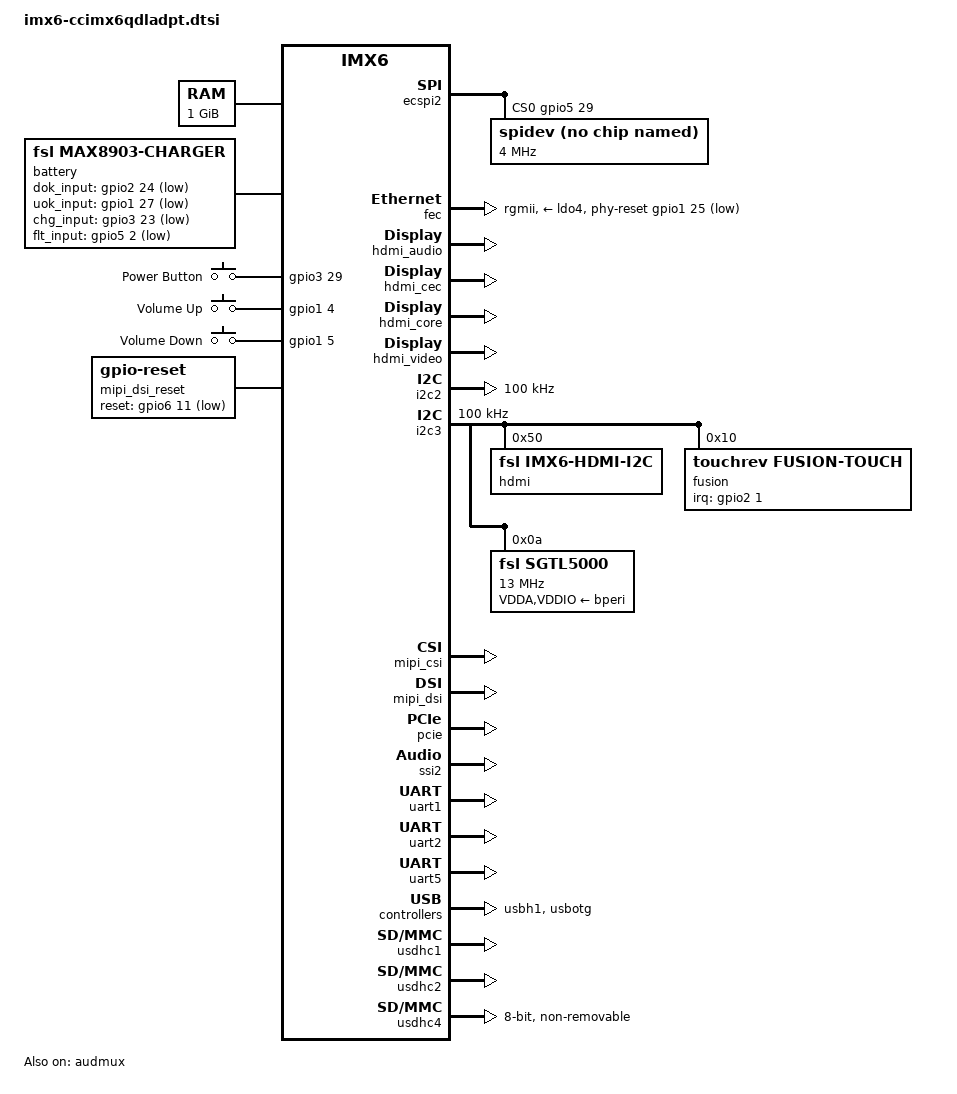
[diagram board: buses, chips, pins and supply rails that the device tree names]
/*
 * Copyright 2013 Digi International, Inc.
 * Copyright 2012 Freescale Semiconductor, Inc.
 * Copyright 2011 Linaro Ltd.
 *
 * The code contained herein is licensed under the GNU General Public
 * License. You may obtain a copy of the GNU General Public License
 * Version 2 or later at the following locations:
 *
 * http://www.opensource.org/licenses/gpl-license.html
 * http://www.gnu.org/copyleft/gpl.html
 */

/ {
	aliases {
		mxcfb0 = &mxcfb1;
		mxcfb1 = &mxcfb2;
		mxcfb2 = &mxcfb3;
		mxcfb3 = &mxcfb4;
	};

	memory {
		reg = <0x10000000 0x40000000>;
	};

	battery: max8903@0 {
		compatible = "fsl,max8903-charger";
		pinctrl-names = "default";
		dok_input = <&gpio2 24 1>;
		uok_input = <&gpio1 27 1>;
		chg_input = <&gpio3 23 1>;
		flt_input = <&gpio5 2 1>;
		fsl,dcm_always_high;
		fsl,dc_valid;
		fsl,usb_valid;
		status = "okay";
	};

	gpio-keys {
		compatible = "gpio-keys";
		power {
			label = "Power Button";
			gpios = <&gpio3 29 0>;
			linux,code = <116>; /* KEY_POWER */
			gpio-key,wakeup;
		};

		volume-up {
			label = "Volume Up";
			gpios = <&gpio1 4 0>;
			linux,code = <115>; /* KEY_VOLUMEUP */
		};

		volume-down {
			label = "Volume Down";
			gpios = <&gpio1 5 0>;
			linux,code = <114>; /* KEY_VOLUMEDOWN */
		};
	};

	sound {
		compatible = "fsl,imx6q-ccimx6adpt-sgtl5000",
			   "fsl,imx-audio-sgtl5000";
		model = "sgtl5000-audio";
		ssi-controller = <&ssi2>;
		audio-codec = <&sgtl5000>;
		audio-routing =
                        "MIC_IN", "Mic Jack",
                        "Mic Jack", "Mic Bias",
                        "Headphone Jack", "HP_OUT";
		mux-int-port = <2>;
		mux-ext-port = <3>;
	};

	sound-hdmi {
		compatible = "fsl,imx6q-audio-hdmi",
			     "fsl,imx-audio-hdmi";
		model = "imx-audio-hdmi";
		hdmi-controller = <&hdmi_audio>;
	};

	mxcfb1: fb@0 {
		compatible = "fsl,mxc_sdc_fb";
		disp_dev = "ldb";
		interface_pix_fmt = "RGB666";
		mode_str ="LDB-HSD101PFW2";
		default_bpp = <16>;
		int_clk = <0>;
		late_init = <0>;
		status = "disabled";
	};

	mxcfb2: fb@1 {
		compatible = "fsl,mxc_sdc_fb";
		disp_dev = "hdmi";
		interface_pix_fmt = "RGB24";
		mode_str ="1920x1080M@60";
		default_bpp = <24>;
		int_clk = <0>;
		late_init = <0>;
		status = "disabled";
	};

	mxcfb3: fb@2 {
		compatible = "fsl,mxc_sdc_fb";
		disp_dev = "lcd";
		interface_pix_fmt = "RGB565";
		mode_str ="CLAA-WVGA";
		default_bpp = <16>;
		int_clk = <0>;
		late_init = <0>;
		status = "disabled";
	};

	mxcfb4: fb@3 {
		compatible = "fsl,mxc_sdc_fb";
		disp_dev = "ldb";
		interface_pix_fmt = "RGB666";
		mode_str ="LDB-XGA";
		default_bpp = <16>;
		int_clk = <0>;
		late_init = <0>;
		status = "disabled";
	};

	lcd@0 {
		compatible = "fsl,lcd";
		ipu_id = <0>;
		disp_id = <0>;
		default_ifmt = "RGB565";
		pinctrl-names = "default";
		pinctrl-0 = <&pinctrl_ipu1_1>;
		status = "okay";
	};

	v4l2_cap_0 {
		compatible = "fsl,imx6q-v4l2-capture";
		ipu_id = <0>;
		csi_id = <0>;
		mclk_source = <0>;
		status = "okay";
	};

	v4l2_cap_1 {
		compatible = "fsl,imx6q-v4l2-capture";
		ipu_id = <0>;
		csi_id = <1>;
		mclk_source = <0>;
		status = "okay";
	};

	v4l2_out {
		compatible = "fsl,mxc_v4l2_output";
		status = "okay";
	};

	mipi_dsi_reset: mipi-dsi-reset {
		compatible = "gpio-reset";
		reset-gpios = <&gpio6 11 GPIO_ACTIVE_LOW>;
		reset-delay-us = <50>;
		#reset-cells = <0>;
	};

	wireless {
		digi,pwrdown-gpios = <&gpio_extender 3 0>;
		/* U-Boot will fill in the MAC address here */
	};

	bluetooth {
		digi,pwrdown-gpios = <&gpio_extender 4 0>;
		/* U-Boot will fill in the MAC address here */
	};
};

&audmux {
	pinctrl-names = "default";
	pinctrl-0 = <&pinctrl_audmux_2>;
	status = "okay";
};

&cpu0 {
	arm-supply = <&bcore1>;
	soc-supply = <&bcore2>;
	pu-supply = <&pu_dummy>;
};

&ecspi2 {
	fsl,spi-num-chipselects = <2>;
	cs-gpios = <&gpio5 29 0>,<&gpio2 27 0>;
	pinctrl-names = "default";
	pinctrl-0 = <&pinctrl_ecspi2_1>;
	status = "okay";

	spidev@0 {
		compatible = "spidev";
		reg = <0>;
		spi-max-frequency = <4000000>;
		status = "okay";
	};
};

/* 10/100/1000 KSZ9031 PHY */

&fec {
	pinctrl-names = "default";
	pinctrl-0 = <&pinctrl_enet_4>;
	phy-mode = "rgmii";
	phy-reset-gpios = <&gpio1 25 2>;
	phy-reset-duration = <10>;
	phy-reset-wait = <1>;
	phy-supply = <&ldo4>;
	status = "okay";
};


/* 10/100 LAN8710 PHY */
/*
&fec {
	pinctrl-names = "default";
	pinctrl-0 = <&pinctrl_enet_5>;
	phy-mode = "rmii";
	phy-reset-gpios = <&gpio6 24 2>;
	phy-reset-duration = <10>;
	phy-reset-wait = <1>;
	phy-supply = <&ldo4>;
	status = "okay";
};
*/

&gpc {
	fsl,cpu_pupscr_sw2iso = <0xf>;
	fsl,cpu_pupscr_sw = <0xf>;
	fsl,cpu_pdnscr_iso2sw = <0x1>;
	fsl,cpu_pdnscr_iso = <0x1>;
	fsl,ldo-bypass = <1>; /* use ldo-bypass, u-boot will check it and configure */
	fsl,wdog-reset = <2>; /* watchdog select of reset source */
	pu-supply = <&pu_dummy>; /* ldo-bypass:use pu_dummy if VDDSOC share with VDDPU */
};

&gpu {
	pu-supply = <&pu_dummy>; /* ldo-bypass:use pu_dummy if VDDSOC share with VDDPU */
};

&hdmi_audio {
	status = "okay";
};

&hdmi_cec {
	pinctrl-names = "default";
	pinctrl-0 = <&pinctrl_hdmi_cec_2>;
	status = "okay";
};

&hdmi_core {
	ipu_id = <0>;
	disp_id = <0>;
	status = "okay";
};

&hdmi_video {
	fsl,phy_reg_vlev = <0x0294>;
	fsl,phy_reg_cksymtx = <0x800d>;
	status = "okay";
};

&i2c2 {
	clock-frequency = <100000>;
	pinctrl-names = "default";
	pinctrl-0 = <&pinctrl_i2c2_2>;
	status = "okay";
};

&i2c3 {
        clock-frequency = <100000>;
        pinctrl-names = "default";
        pinctrl-0 = <&pinctrl_i2c3_2>;
        status = "okay";

	hdmi: edid@50 {
		compatible = "fsl,imx6-hdmi-i2c";
		reg = <0x50>;
	};

	fusion@10 {
		compatible = "touchrev,fusion-touch";
		reg = <0x10>;
		interrupt-parent = <&gpio2>;
		interrupts = <1 1>;
		//touchrev,is-multitouch;
		status = "okay";
	};

	sgtl5000: codec@0a {
		compatible = "fsl,sgtl5000";
                reg = <0x0a>;
		clock-frequency = <13000000>;
		VDDA-supply = <&bperi>;
		VDDIO-supply = <&bperi>;
	};
};

&iomuxc {
	pinctrl-names = "default";
	pinctrl-0 = <&pinctrl_hog_1>;

	hog {
		pinctrl_hog_1: hoggrp-1 {
			fsl,pins = <
				MX6QDL_PAD_GPIO_4__GPIO1_IO04   0x80000000
				MX6QDL_PAD_GPIO_5__GPIO1_IO05   0x80000000
				MX6QDL_PAD_NANDF_D0__GPIO2_IO00 0x80000000
				MX6QDL_PAD_NANDF_D1__GPIO2_IO01 0x80000000
				MX6QDL_PAD_NANDF_D2__GPIO2_IO02 0x80000000
				MX6QDL_PAD_NANDF_D3__GPIO2_IO03 0x80000000
				MX6QDL_PAD_NANDF_ALE__GPIO6_IO08 0x80000000
				MX6QDL_PAD_GPIO_16__GPIO7_IO11	 0x80000000
				MX6QDL_PAD_GPIO_0__CCM_CLKO1    0x130b0
				MX6QDL_PAD_NANDF_CS2__GPIO6_IO15 0x80000000
				MX6QDL_PAD_NANDF_CS3__GPIO6_IO16 0x80000000
				MX6QDL_PAD_EIM_D26__GPIO3_IO26 0x80000000
				MX6QDL_PAD_EIM_CS1__GPIO2_IO24 0x80000000
				MX6QDL_PAD_EIM_A25__GPIO5_IO02 0x80000000
				MX6QDL_PAD_EIM_D23__GPIO3_IO23 0x80000000
				MX6QDL_PAD_EIM_D22__GPIO3_IO22  0x80000000
				MX6QDL_PAD_NANDF_CS0__GPIO6_IO11 0x80000000
				MX6QDL_PAD_NANDF_CS1__GPIO6_IO14 0x80000000
				MX6QDL_PAD_EIM_EB3__GPIO2_IO31 0x80000000
				MX6QDL_PAD_EIM_D16__GPIO3_IO16 0x80000000
				MX6QDL_PAD_EIM_DA9__GPIO3_IO09 0x80000000
				MX6QDL_PAD_GPIO_4__GPIO1_IO04 0x80000000
				MX6QDL_PAD_GPIO_5__GPIO1_IO05 0x80000000
				MX6QDL_PAD_SD3_RST__GPIO7_IO08 0x80000000
				MX6QDL_PAD_GPIO_9__GPIO1_IO09 0x80000000
			>;
		};
	};
};

&mipi_csi {
	status = "okay";
	ipu_id = <0>;
	csi_id = <1>;
	v_channel = <0>;
	lanes = <2>;
};

&mipi_dsi {
	dev_id = <0>;
	disp_id = <0>;
	lcd_panel = "TRULY-WVGA";
	resets = <&mipi_dsi_reset>;
	status = "okay";
};

&pcie {
	pwr-gpios = <&gpio3 19 0>;
	rst-gpios = <&gpio7 12 0>;
	status = "okay";
};

&ssi2 {
	fsl,mode = "i2s-slave";
	status = "okay";
};

&uart1 {
	pinctrl-names = "default";
	pinctrl-0 = <&pinctrl_uart1_2>;
	status = "okay";
};

&uart2 {
	pinctrl-names = "default";
	pinctrl-0 = <&pinctrl_uart2_3>;
	fsl,uart-has-rtscts;
	status = "okay";
};

&uart5 {
	pinctrl-names = "default";
	pinctrl-0 = <&pinctrl_uart5_1>;
	status = "okay";
};

&usbh1 {
	status = "okay";
};

&usbotg {
	pinctrl-names = "default";
	pinctrl-0 = <&pinctrl_usbotg_1>;
	disable-over-current;
	status = "okay";
};

&usdhc1 {
        pinctrl-names = "default";
        pinctrl-0 = <&pinctrl_usdhc1_1>;
        no-1-8-v;
        status = "okay";
};

&usdhc2 {
	pinctrl-names = "default";
	pinctrl-0 = <&pinctrl_usdhc2_2>;
	no-1-8-v;
	status = "okay";
};

&usdhc4 {
        pinctrl-names = "default";
        pinctrl-0 = <&pinctrl_usdhc4_1>;
        bus-width = <8>;
        non-removable;
        no-1-8-v;
        status = "okay";
};

&vpu {
	pu-supply = <&pu_dummy>; /* ldo-bypass:use pu_dummy if VDDSOC share with VDDPU */
};
